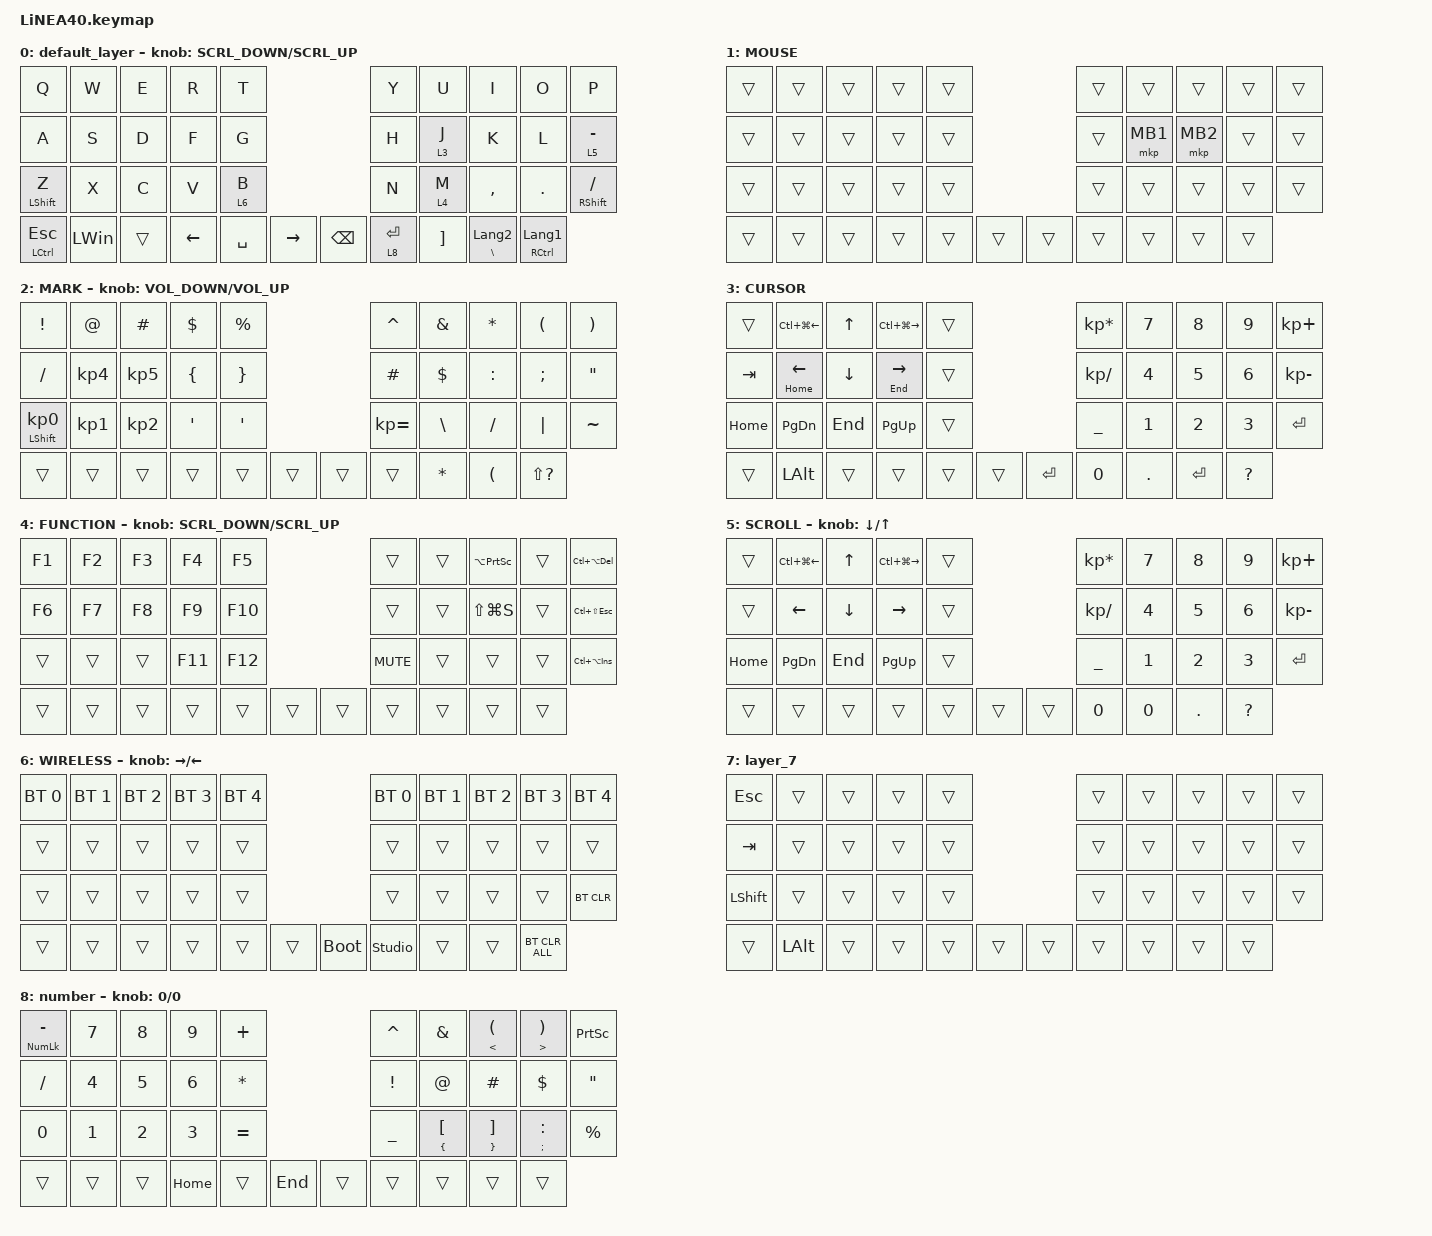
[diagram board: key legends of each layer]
#define ZMK_POINTING_DEFAULT_SCRL_VAL 150

#include <dt-bindings/zmk/input_transform.h>
#include <input/processors.dtsi>
#include <zephyr/dt-bindings/input/input-event-codes.h>
#include <behaviors.dtsi>
#include <dt-bindings/zmk/bt.h>
#include <dt-bindings/zmk/keys.h>
#include <dt-bindings/zmk/pointing.h>

#define MOUSE 1
#define MARK 2
#define CURSOR 3
#define FUNCTION 4
#define SCROLL 5
#define WIRELESS 6

//mouse cursol

&mmv {
    delay-ms = <20>;
    trigger-period-ms = <5>;
    time-to-max-speed-ms = <100>;
    acceleration-exponent = <2>;
};

//mouse scroll

&msc {
    delay-ms = <3>;
    trigger-period-ms = <3>;
    time-to-max-speed-ms = <100>;
    acceleration-exponent = <0>;
};

/ {
    input_processors {
        zip_wheel_scaler: zip_wheel_scaler {
            compatible = "zmk,input-processor-scaler";
            #input-processor-cells = <2>;
            type = <INPUT_EV_REL>;
            codes = <INPUT_REL_WHEEL>;
            track-remainders;
        };
    };
};

&msc_input_listener {
    speed_up {
        layers = <FUNCTION>;
        input-processors = <&zip_wheel_scaler 3 1>; //スクロールを3倍速にする
    };
};

&trackball_listener {
    scroller {
        layers = <SCROLL>;
        input-processors =
            <&zip_xy_transform INPUT_TRANSFORM_Y_INVERT>,
            //スクロール方向を逆転,,,,,,,,,,,,,,,,,,,,,,,,,,,,,,
            <&zip_xy_to_scroll_mapper>;
    };
};

/ {
    combos {
        compatible = "zmk,combos";

        ZenkakuHankaku {
            bindings = <&kp GRAVE>;
            key-positions = <11 12>;
        };

        DeleteKey {
            bindings = <&kp DEL>;
            key-positions = <7 8>;
        };

        InsertKey {
            bindings = <&kp INS>;
            key-positions = <6 7>;
        };

        leftClick {
            bindings = <&mkp MB1>;
            key-positions = <17 16>;
        };

        RightClick {
            bindings = <&mkp MB2>;
            key-positions = <18 17>;
        };

        PrevClick {
            bindings = <&mkp MB4>;
            key-positions = <27 28>;
        };

        ClickNext {
            bindings = <&mkp MB5>;
            key-positions = <26 27>;
        };

        centerclick {
            bindings = <&mkp MB3>;
            key-positions = <16 18>;
        };
    };

    behaviors {
        re_kp: sensor_rotate_kp {
            compatible = "zmk,behavior-sensor-rotate-var";
            #sensor-binding-cells = <2>;
            bindings = <&kp>, <&kp>;
        };

        mouse_scrl: mouse_wheel_scrl {
            compatible = "zmk,behavior-sensor-rotate-var";
            #sensor-binding-cells = <2>;
            bindings = <&msc>, <&msc>;

            tap-ms = <20>;
        };
    };

    keymap {
        compatible = "zmk,keymap";

        default_layer {
            bindings = <
&kp Q             &kp W         &kp E   &kp R           &kp T                                        &kp Y        &kp U    &kp I              &kp O                     &kp P
&kp A             &kp S         &kp D   &kp F           &kp G                                        &kp H        &lt 3 J  &kp K              &kp L                     &lt 5 MINUS
&mt LEFT_SHIFT Z  &kp X         &kp C   &kp V           &lt 6 B                                      &kp N        &lt 4 M  &kp COMMA          &kp DOT                   &mt RIGHT_SHIFT SLASH
&mt LCTRL ESC     &kp LEFT_WIN  &trans  &kp LEFT_ARROW  &kp SPACE  &kp RIGHT_ARROW    &kp BACKSPACE  &lt 8 ENTER           &kp RIGHT_BRACKET  &mt BACKSLASH LANGUAGE_2  &mt RIGHT_CONTROL LANGUAGE_1
            >;

            sensor-bindings = <&mouse_scrl SCRL_DOWN SCRL_UP>;
        };

        //1

        MOUSE {
            bindings = <
&trans  &trans  &trans  &trans  &trans                    &trans  &trans    &trans    &trans  &trans
&trans  &trans  &trans  &trans  &trans                    &trans  &mkp MB1  &mkp MB2  &trans  &trans
&trans  &trans  &trans  &trans  &trans                    &trans  &trans    &trans    &trans  &trans
&trans  &trans  &trans  &trans  &trans  &trans    &trans  &trans            &trans    &trans  &trans
            >;
        };

        //2

        MARK {
            bindings = <
&kp EXCLAMATION             &kp AT           &kp HASH         &kp DOLLAR      &kp PERCENT                        &kp CARET     &kp AMPERSAND  &kp ASTERISK  &kp LEFT_PARENTHESIS  &kp RIGHT_PARENTHESIS
&kp SLASH                   &kp KP_NUMBER_4  &kp KP_NUMBER_5  &kp LEFT_BRACE  &kp RIGHT_BRACE                    &kp HASH      &kp DOLLAR     &kp COLON     &kp SEMICOLON         &kp DOUBLE_QUOTES
&mt LEFT_SHIFT KP_NUMBER_0  &kp KP_NUMBER_1  &kp KP_NUMBER_2  &kp APOS        &kp SQT                            &kp KP_EQUAL  &kp BSLH       &kp SLASH     &kp PIPE              &kp TILDE
&trans                      &trans           &trans           &trans          &trans           &trans    &trans  &trans                       &kp ASTERISK  &kp LEFT_PARENTHESIS  &kp LS(QUESTION)
            >;

            sensor-bindings = <&re_kp C_VOLUME_DOWN C_VOLUME_UP>;
        };

        //3

        CURSOR {
            bindings = <
&trans    &kp LC(LG(LEFT_ARROW))  &kp UP_ARROW  &kp LC(LG(RIGHT_ARROW))  &trans                       &kp KP_MULTIPLY  &kp NUMBER_7  &kp NUMBER_8  &kp NUMBER_9  &kp KP_PLUS
&kp TAB   &mt HOME LEFT_ARROW     &kp DOWN      &mt END RIGHT_ARROW      &trans                       &kp KP_SLASH     &kp NUMBER_4  &kp NUMBER_5  &kp NUMBER_6  &kp KP_MINUS
&kp HOME  &kp PAGE_DOWN           &kp END       &kp PAGE_UP              &trans                       &kp UNDER        &kp NUMBER_1  &kp NUMBER_2  &kp NUMBER_3  &kp ENTER
&trans    &kp LEFT_ALT            &trans        &trans                   &trans  &trans    &kp ENTER  &kp NUMBER_0                   &kp DOT       &kp ENTER     &kp QUESTION
            >;
        };

        //4

        FUNCTION {
            bindings = <
&kp F1  &kp F2  &kp F3  &kp F4   &kp F5                     &trans      &trans  &kp LA(PRINTSCREEN)  &trans  &kp LC(LA(DELETE))
&kp F6  &kp F7  &kp F8  &kp F9   &kp F10                    &trans      &trans  &kp LS(LG(S))        &trans  &kp LC(LS(ESCAPE))
&trans  &trans  &trans  &kp F11  &kp F12                    &kp C_MUTE  &trans  &trans               &trans  &kp LC(LA(INS))
&trans  &trans  &trans  &trans   &trans   &trans    &trans  &trans              &trans               &trans  &trans
            >;

            sensor-bindings = <&mouse_scrl SCRL_DOWN SCRL_UP>;
        };

        //5

        SCROLL {
            bindings = <
&trans    &kp LC(LG(LEFT_ARROW))  &kp UP_ARROW  &kp LC(LG(RIGHT_ARROW))  &trans                    &kp KP_MULTIPLY  &kp NUMBER_7  &kp NUMBER_8  &kp NUMBER_9  &kp KP_PLUS
&trans    &kp LEFT_ARROW          &kp DOWN      &kp RIGHT_ARROW          &trans                    &kp KP_SLASH     &kp NUMBER_4  &kp NUMBER_5  &kp NUMBER_6  &kp KP_MINUS
&kp HOME  &kp PAGE_DOWN           &kp END       &kp PAGE_UP              &trans                    &kp UNDER        &kp NUMBER_1  &kp NUMBER_2  &kp NUMBER_3  &kp ENTER
&trans    &trans                  &trans        &trans                   &trans  &trans    &trans  &kp NUMBER_0                   &kp NUMBER_0  &kp DOT       &kp QUESTION
            >;

            sensor-bindings = <&inc_dec_kp DOWN_ARROW UP_ARROW>;
        };

        //6

        WIRELESS {
            bindings = <
&bt BT_SEL 0  &bt BT_SEL 1  &bt BT_SEL 2  &bt BT_SEL 3  &bt BT_SEL 4                         &bt BT_SEL 0    &bt BT_SEL 1  &bt BT_SEL 2  &bt BT_SEL 3  &bt BT_SEL 4
&trans        &trans        &trans        &trans        &trans                               &trans          &trans        &trans        &trans        &trans
&trans        &trans        &trans        &trans        &trans                               &trans          &trans        &trans        &trans        &bt BT_CLR
&trans        &trans        &trans        &trans        &trans        &trans    &bootloader  &studio_unlock                &trans        &trans        &bt BT_CLR_ALL
            >;

            sensor-bindings = <&inc_dec_kp RIGHT_ARROW LEFT_ARROW>;
        };

        layer_7 {
            bindings = <
&kp ESC         &trans        &trans  &trans  &trans                    &trans  &trans  &trans  &trans  &trans
&kp TAB         &trans        &trans  &trans  &trans                    &trans  &trans  &trans  &trans  &trans
&kp LEFT_SHIFT  &trans        &trans  &trans  &trans                    &trans  &trans  &trans  &trans  &trans
&trans          &kp LEFT_ALT  &trans  &trans  &trans  &trans    &trans  &trans          &trans  &trans  &trans
            >;
        };

        number {
            bindings = <
&mt KP_NUMLOCK MINUS  &kp NUMBER_7  &kp NUMBER_8  &kp NUMBER_9  &kp PLUS                         &kp CARET  &kp AMPERSAND                &mt LESS_THAN LEFT_PARENTHESIS  &mt GREATER_THAN RIGHT_PARENTHESIS  &kp PRINTSCREEN
&kp SLASH             &kp NUMBER_4  &kp NUMBER_5  &kp NUMBER_6  &kp ASTERISK                     &kp EXCL   &kp AT                       &kp HASH                        &kp DOLLAR                          &kp DOUBLE_QUOTES
&kp NUMBER_0          &kp NUMBER_1  &kp NUMBER_2  &kp NUMBER_3  &kp EQUAL                        &kp UNDER  &mt LEFT_BRACE LEFT_BRACKET  &mt RIGHT_BRACE RIGHT_BRACKET   &mt SEMI COLON                      &kp PERCENT
&trans                &trans        &trans        &kp HOME      &trans        &kp END    &trans  &trans                                  &trans                          &trans                              &trans
            >;

            sensor-bindings = <&inc_dec_kp 0 0>;
        };
    };

    conditional_layers {
        compatible = "zmk,conditional-layers";

        number {
            if-layers = <8>;
            then-layer = <8>;
        };
    };
};
